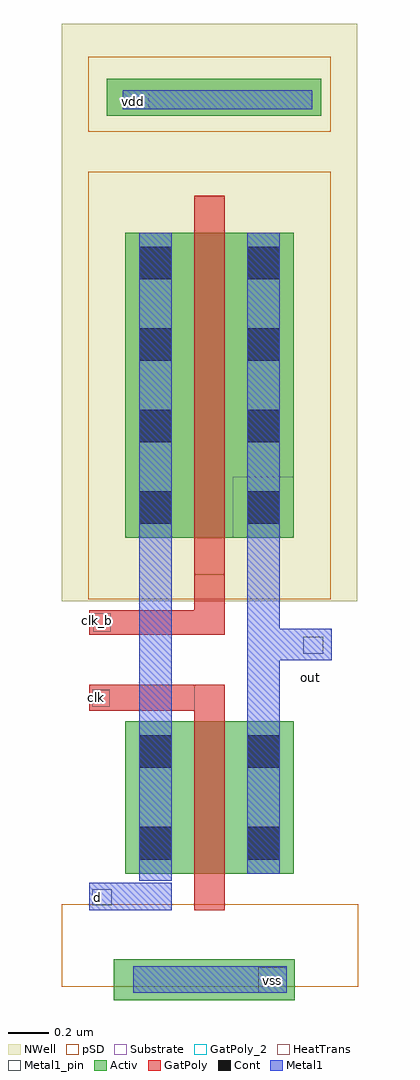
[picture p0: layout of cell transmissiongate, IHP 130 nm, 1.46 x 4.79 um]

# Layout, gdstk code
from math import pi, radians
import gdstk
lib = gdstk.Library(unit=1e-6, precision=5e-09)
def R(c, l, rs):  # rectangles x0, y0, x1, y1
    for r in rs: c.add(gdstk.rectangle(r[:2], r[2:], *l))
def A(c, l, x, y, w, h, nx, ny, dx, dy):  # array of equal rectangles
    R(c, l, [(x+i*dx, y+j*dy, x+i*dx+w, y+j*dy+h) for i in range(nx) for j in range(ny)])
Activ = (1, 0)
GatPoly = (5, 0)
GatPoly_2 = (5, 2)
Cont = (6, 0)
Metal1 = (8, 0)
Metal1_pin = (8, 2)
pSD = (14, 0)
NWell = (31, 0)
Substrate = (40, 0)
HeatTrans = (51, 0)

pmos_1 = lib.new_cell('pmos$1')
R(pmos_1, Activ, [(0,0,0.3,0.3), (0,0,0.83,1.5), (0.53,0,0.83,0.3)])
R(pmos_1, GatPoly, [(0.34,-0.18,0.49,1.68), (0.34,-0.18,0.49,1.68)])
A(pmos_1, Cont, 0.07, 0.07, 0.16, 0.16, 1, 4, 0, 0.4)
A(pmos_1, Cont, 0.6, 0.07, 0.16, 0.16, 1, 4, 0, 0.4)
R(pmos_1, Metal1, [(0.07,0,0.23,1.5), (0.07,0,0.23,1.5), (0.6,0,0.76,1.5), (0.6,0,0.76,1.5)])
R(pmos_1, pSD, [(-0.18,-0.3,1.01,1.8)])
R(pmos_1, NWell, [(-0.31,-0.31,1.14,1.81)])
R(pmos_1, Substrate, [(0.53,0,0.83,0.3)])
R(pmos_1, HeatTrans, [(0.34,-0.18,0.49,1.68)])
pmos_1.add(gdstk.Label('pmos', (0.415,0.75), layer=63, texttype=0))
pmos_1.add(gdstk.Label('pmos', (0.415,0.75), layer=51, texttype=0))

nmos_1 = lib.new_cell('nmos$1')
R(nmos_1, Activ, [(0,0,0.3,0.3), (0,0,0.83,0.75), (0.53,0,0.83,0.3)])
R(nmos_1, GatPoly, [(0.34,-0.18,0.49,0.93)])
R(nmos_1, GatPoly_2, [(0.34,-0.18,0.49,0.93)])
R(nmos_1, Cont, [(0.07,0.07,0.23,0.23), (0.6,0.07,0.76,0.23), (0.07,0.52,0.23,0.68), (0.6,0.52,0.76,0.68)])
R(nmos_1, Metal1, [(0.07,0,0.23,0.75), (0.6,0,0.76,0.75)])
R(nmos_1, Metal1_pin, [(0.07,0,0.23,0.75), (0.6,0,0.76,0.75)])
R(nmos_1, HeatTrans, [(0.34,-0.18,0.49,0.93)])
nmos_1.add(gdstk.Label('nmos', (0.415,0.375), layer=63, texttype=0))
nmos_1.add(gdstk.Label('nmos', (0.415,0.375), layer=51, texttype=0))

transmissiongate = lib.new_cell('transmissiongate')
R(transmissiongate, Activ, [(-0.445,-2.485,0.445,-2.285), (-0.445,-2.485,0.445,-2.285), (-0.48,1.86,0.575,2.04)])
R(transmissiongate, GatPoly, [(-0.565,-1.065,0.1,-0.935), (-0.565,-0.69,0.1,-0.57), (-0.05,-0.57,0.1,-0.295)])
R(transmissiongate, GatPoly_2, [(-0.55,-1.045,-0.465,-0.96), (-0.545,-0.675,-0.46,-0.585)])
R(transmissiongate, Metal1, [(-0.35,-2.45,0.405,-2.32), (-0.565,-2.045,-0.16,-1.91), (-0.32,-1.9,-0.16,0.01), (0.21,-1.65,0.37,0.02), (0.21,-0.815,0.625,-0.66), (-0.4,1.89,0.53,1.985)])
R(transmissiongate, Metal1_pin, [(0.265,-2.45,0.405,-2.325), (-0.55,-2.02,-0.455,-1.94), (0.485,-0.785,0.585,-0.7), (-0.4,1.89,-0.27,1.985)])
R(transmissiongate, pSD, [(-0.7,-2.42,0.755,-2.015), (-0.7,-2.42,0.755,-2.015), (-0.57,1.78,0.62,2.15)])
R(transmissiongate, NWell, [(-0.7,1.595,0.75,2.31)])
transmissiongate.add(gdstk.Reference(pmos_1, (-0.39,-0.215)))
transmissiongate.add(gdstk.Reference(nmos_1, (0.44,-1.115), rotation=pi))
transmissiongate.add(gdstk.Label('d', (-0.525,-1.98), layer=8, texttype=2))
transmissiongate.add(gdstk.Label('out', (0.52,-0.9), layer=8, texttype=2))
transmissiongate.add(gdstk.Label('vss', (0.335,-2.39), layer=8, texttype=2))
transmissiongate.add(gdstk.Label('vdd', (-0.35,1.93), layer=8, texttype=2))
transmissiongate.add(gdstk.Label('clk', (-0.53,-1), layer=5, texttype=2))
transmissiongate.add(gdstk.Label('clk_b', (-0.525,-0.62), layer=5, texttype=2))

lib.write_gds('transmissiongate.gds')
